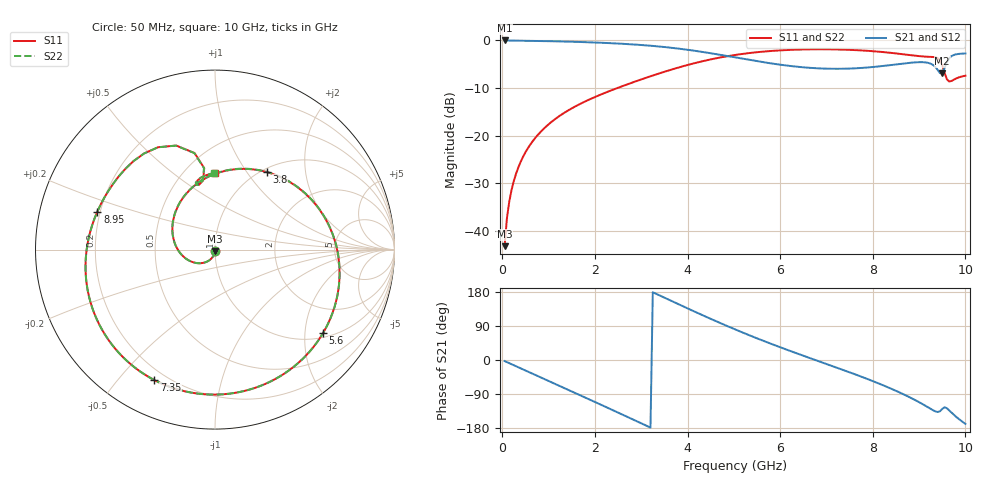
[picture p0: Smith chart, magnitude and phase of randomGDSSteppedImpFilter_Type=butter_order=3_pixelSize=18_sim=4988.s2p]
! freq	dB(S11)	phase(S11)	dB(S12)	phase(S12)
!  dB(S21)	phase(S21)	dB(S22)	phase(S22)
!S-par simulation data
#  GHz  S  DB  R 50
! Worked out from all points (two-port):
!   200 points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, 50 MHz to 10 GHz, reference 50 ohm
!   highest |S21| = -0.01 dB at 50 MHz (marker M1); lowest = -6.9 dB at 9.5 GHz (marker M2)
!   |S21| within 3 dB of the highest: start of sweep to 4.699 GHz; 9.766 GHz to end of sweep
!   lowest |S11| = -43.2 dB at 50 MHz (marker M3), VSWR 1.01, Z = 50 - j0.695 ohm
!   |S11| at or under -10 dB: start of sweep to 2.48 GHz
!   |S22| runs from -43.2 to -1.9 dB; largest |S21 - S12| = 0
!   S11 on the Smith chart (normalised r, x): 50 MHz: 1.00, -0.01; 3.8 GHz: 1.05, +1.25; 5.6 GHz: 1.12, -2.48; 7.35 GHz: 0.15, -0.63; 8.95 GHz: 0.19, +0.15; 10 GHz: 0.69, +0.72
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0.05  -43.16 -90.5  -0.01 -2.8  -0.01 -2.8  -43.15 -90.5
0.1  -37.30 -93.9  -0.01 -5.6  -0.01 -5.6  -37.30 -93.9
0.2  -31.37 -100.4  -0.02 -11.1  -0.02 -11.1  -31.36 -100.3
0.5  -23.47 -118.0  -0.06 -27.7  -0.06 -27.7  -23.47 -117.8
1.15  -16.43 -154.5  -0.18 -63.6  -0.18 -63.6  -16.43 -154.2
1.75  -12.98 172.0  -0.35 -96.8  -0.35 -96.8  -12.98 172.4
2.2  -11.06 146.8  -0.51 -121.9  -0.51 -121.9  -11.06 147.3
2.65  -9.39 121.5  -0.73 -147.2  -0.73 -147.2  -9.38 122.0
3.4  -6.88 78.9  -1.28 170.2  -1.28 170.2  -6.88 79.4
3.8  -5.70 56.3  -1.71 147.5  -1.71 147.5  -5.69 56.7
4.4  -4.19 23.2  -2.53 114.0  -2.53 114.0  -4.19 23.5
5.05  -3.01 -10.9  -3.60 79.6  -3.60 79.6  -3.01 -10.7
5.6  -2.38 -37.8  -4.51 52.4  -4.51 52.4  -2.38 -37.6
6.15  -2.01 -62.9  -5.28 26.9  -5.28 26.9  -2.01 -62.8
6.7  -1.86 -86.9  -5.79 2.6  -5.79 2.6  -1.86 -86.9
7.35  -1.92 -115.0  -5.94 -25.8  -5.94 -25.8  -1.92 -115.0
8.35  -2.56 -162.3  -5.21 -73.2  -5.21 -73.2  -2.56 -162.4
8.95  -3.24 162.1  -4.58 -108.0  -4.58 -108.0  -3.24 162.1
9.3  -3.47 132.7  -5.13 -132.5  -5.13 -132.5  -3.47 132.7
9.5  -5.19 101.9  -6.90 -128.9  -6.90 -128.9  -5.19 102.1
9.65  -8.62 104.1  -3.73 -133.0  -3.73 -133.0  -8.61 104.3
10  -7.40 90.1  -2.74 -168.5  -2.74 -168.5  -7.39 90.5
